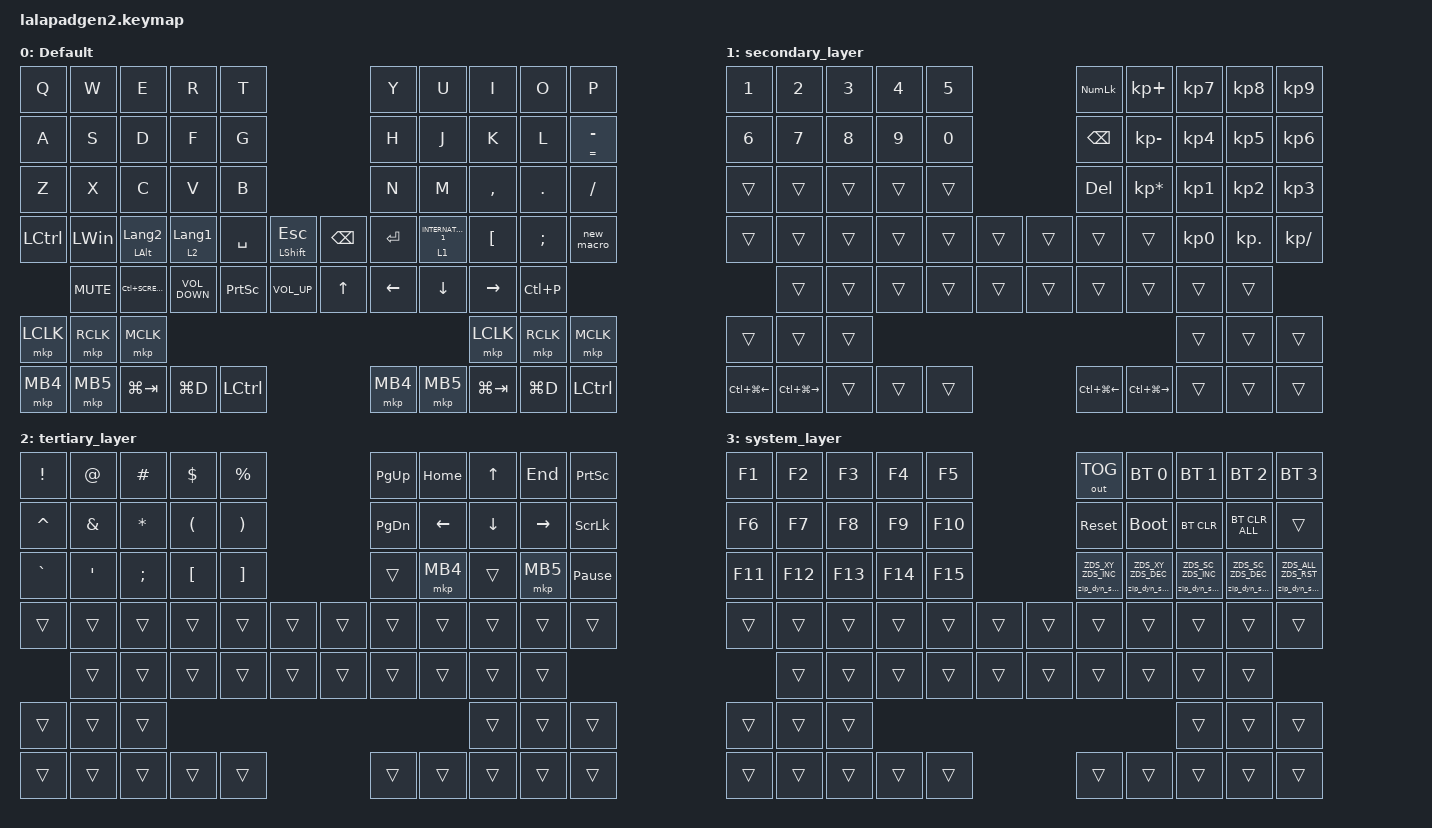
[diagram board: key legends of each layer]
#include <input/processors.dtsi>
#include <dt-bindings/zmk/zip_dynamic_scale.h>
#include <behaviors.dtsi>
#include <dt-bindings/zmk/bt.h>
#include <dt-bindings/zmk/keys.h>
#include <dt-bindings/zmk/outputs.h>
#include <dt-bindings/zmk/pointing.h>

#define DEFAULT_LAYER   0
#define SECONDARY_LAYER 1
#define TERTIARY_LAYER  2
#define SYSTEM_LAYER    3

&mt { quick-tap-ms = <200>; };

&lt { quick-tap-ms = <200>; };

/ {
    behaviors {
        zip_dyn_scale: zip_dyn_scale {
            compatible = "zmk,behavior-zip-dynamic-scale";
            #binding-cells = <2>;
        };

        zip_dyn_scale_set: zip_dyn_scale_set {
            compatible = "zmk,behavior-zip-dynamic-scale-set";
            #binding-cells = <2>;
        };

        mt2: mod_tap2 {
            compatible = "zmk,behavior-hold-tap";
            #binding-cells = <2>;
            flavor = "tap-preferred";
            tapping-term-ms = <200>;
            quick-tap-ms = <200>;
            require-prior-idle-ms = <125>;
            bindings = <&kp>, <&kp>;
        };

        tap_dance_layer_1and2: tap_dance_layer_1and2 {
            compatible = "zmk,behavior-tap-dance";
            label = "td_mo12";
            #binding-cells = <0>;
            bindings = <&mo 1>, <&mo 2>;
        };
    };

    combos {
        compatible = "zmk,combos";

        COMBO_TAB {
            bindings = <&kp TAB>;
            key-positions = <10 11>;
        };
    };

    macros {
        new_macro: new_macro {
            compatible = "zmk,behavior-macro";
            #binding-cells = <0>;
            bindings = <&kp LS(H) &kp A &kp S &kp E &kp LS(INT1) &kp N0 &kp N7 &kp N0 &kp N1 &kp N3 &kp N0>;
            label = "NEW_MACRO";
        };
    };

    keymap {
        compatible = "zmk,keymap";

        DEFAULT_LAYER {
            display-name = "Default";
            bindings = <
&kp Q      &kp W       &kp E                    &kp R              &kp T                                                  &kp Y      &kp U                  &kp I             &kp O          &kp P
&kp A      &kp S       &kp D                    &kp F              &kp G                                                  &kp H      &kp J                  &kp K             &kp L          &mt2 EQUAL MINUS
&kp Z      &kp X       &kp C                    &kp V              &kp B                                                  &kp N      &kp M                  &kp COMMA         &kp PERIOD     &kp SLASH
&kp LCTRL  &kp LWIN    &mt LEFT_ALT LANGUAGE_2  &lt 2 LANGUAGE_1   &kp SPACE        &mt LEFT_SHIFT ESCAPE  &kp BACKSPACE  &kp ENTER  &lt 1 INTERNATIONAL_1  &kp LEFT_BRACKET  &kp SEMICOLON  &new_macro
           &kp C_MUTE  &kp LC(K_SCREENSAVER)    &kp C_VOLUME_DOWN  &kp PRINTSCREEN  &kp C_VOLUME_UP        &kp UP         &kp LEFT   &kp DOWN               &kp RIGHT         &kp LC(P)
&mkp LCLK  &mkp RCLK   &mkp MCLK                                                                                                                            &mkp LCLK         &mkp RCLK      &mkp MCLK
&mkp MB4   &mkp MB5    &kp LG(TAB)              &kp LG(D)          &kp LCTRL                                              &mkp MB4   &mkp MB5               &kp LG(TAB)       &kp LG(D)      &kp LCTRL
            >;
        };

        SECONDARY_LAYER {
            display-name = "secondary_layer";
            bindings = <
&kp NUMBER_1      &kp NUMBER_2       &kp NUMBER_3  &kp NUMBER_4  &kp N5                  &kp KP_NUMLOCK    &kp KP_PLUS        &kp KP_NUMBER_7  &kp KP_NUMBER_8  &kp KP_NUMBER_9
&kp NUMBER_6      &kp N7             &kp N8        &kp N9        &kp N0                  &kp BACKSPACE     &kp KP_MINUS       &kp KP_NUMBER_4  &kp KP_NUMBER_5  &kp KP_NUMBER_6
&trans            &trans             &trans        &trans        &trans                  &kp DELETE        &kp KP_MULTIPLY    &kp KP_NUMBER_1  &kp KP_NUMBER_2  &kp KP_NUMBER_3
&trans            &trans             &trans        &trans        &trans  &trans  &trans  &trans            &trans             &kp KP_NUMBER_0  &kp KP_DOT       &kp KP_DIVIDE
                  &trans             &trans        &trans        &trans  &trans  &trans  &trans            &trans             &trans           &trans
&trans            &trans             &trans                                                                                   &trans           &trans           &trans
&kp LC(LG(LEFT))  &kp LC(LG(RIGHT))  &trans        &trans        &trans                  &kp LC(LG(LEFT))  &kp LC(LG(RIGHT))  &trans           &trans           &trans
            >;
        };

        TERTIARY_LAYER {
            display-name = "tertiary_layer";
            bindings = <
&kp EXCLAMATION  &kp AT_SIGN    &kp HASH      &kp DOLLAR            &kp PERCENT                            &kp PAGE_UP    &kp HOME  &kp UP_ARROW    &kp END    &kp PRINTSCREEN
&kp CARET        &kp AMPERSAND  &kp ASTERISK  &kp LEFT_PARENTHESIS  &kp RIGHT_PARENTHESIS                  &kp PAGE_DOWN  &kp LEFT  &kp DOWN_ARROW  &kp RIGHT  &kp SCROLLLOCK
&kp GRAVE        &kp SQT        &kp SEMI      &kp LEFT_BRACKET      &kp RIGHT_BRACKET                      &trans         &mkp MB4  &trans          &mkp MB5   &kp PAUSE_BREAK
&trans           &trans         &trans        &trans                &trans                 &trans  &trans  &trans         &trans    &trans          &trans     &trans
                 &trans         &trans        &trans                &trans                 &trans  &trans  &trans         &trans    &trans          &trans
&trans           &trans         &trans                                                                                              &trans          &trans     &trans
&trans           &trans         &trans        &trans                &trans                                 &trans         &trans    &trans          &trans     &trans
            >;
        };

        SYSTEM_LAYER {
            display-name = "system_layer";
            bindings = <
&kp F1   &kp F2   &kp F3   &kp F4   &kp F5                   &out OUT_TOG                   &bt BT_SEL 0                   &bt BT_SEL 1                   &bt BT_SEL 2                   &bt BT_SEL 3
&kp F6   &kp F7   &kp F8   &kp F9   &kp F10                  &sys_reset                     &bootloader                    &bt BT_CLR                     &bt BT_CLR_ALL                 &trans
&kp F11  &kp F12  &kp F13  &kp F14  &kp F15                  &zip_dyn_scale ZDS_XY ZDS_INC  &zip_dyn_scale ZDS_XY ZDS_DEC  &zip_dyn_scale ZDS_SC ZDS_INC  &zip_dyn_scale ZDS_SC ZDS_DEC  &zip_dyn_scale ZDS_ALL ZDS_RST
&trans   &trans   &trans   &trans   &trans   &trans  &trans  &trans                         &trans                         &trans                         &trans                         &trans
         &trans   &trans   &trans   &trans   &trans  &trans  &trans                         &trans                         &trans                         &trans
&trans   &trans   &trans                                                                                                   &trans                         &trans                         &trans
&trans   &trans   &trans   &trans   &trans                   &trans                         &trans                         &trans                         &trans                         &trans
            >;
        };
    };

    conditional_layers {
        compatible = "zmk,conditional-layers";

        Cond_Syslayer {
            if-layers = <1 2>;
            then-layer = <3>;
        };
    };
};
